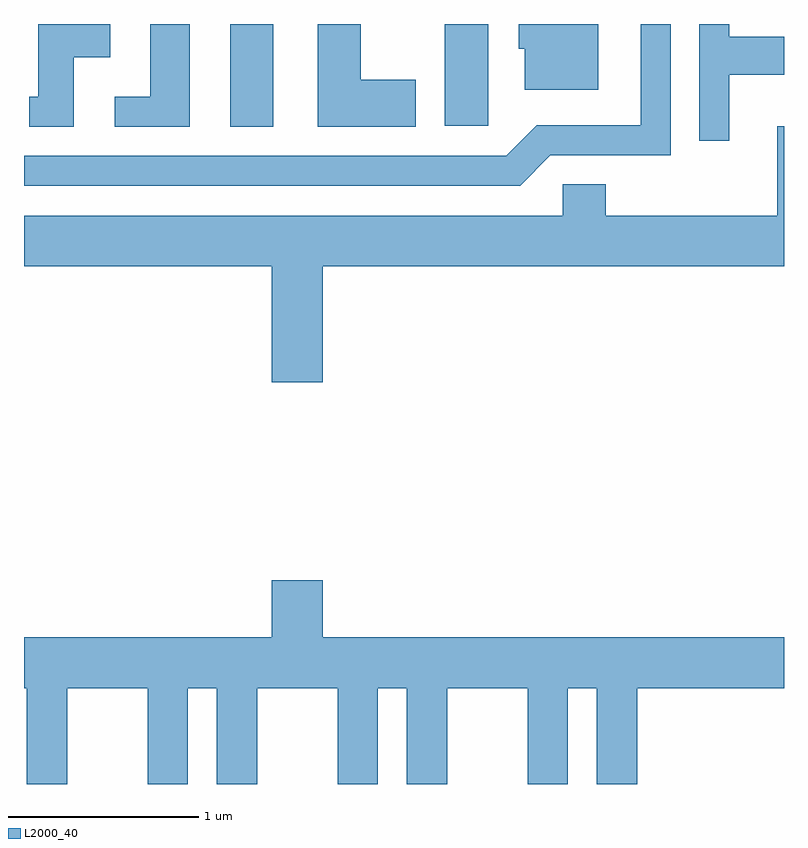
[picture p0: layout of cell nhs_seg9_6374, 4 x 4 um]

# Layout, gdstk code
import gdstk
lib = gdstk.Library(unit=1e-6, precision=1e-09)
def R(c, l, rs):  # rectangles x0, y0, x1, y1
    for r in rs: c.add(gdstk.rectangle(r[:2], r[2:], *l))
def P(c, l, *ps):  # polygons
    for p in ps: c.add(gdstk.Polygon(p, *l))
L2000_40 = (2000, 40)

nhs_seg9_6374 = lib.new_cell('nhs_seg9_6374')
R(nhs_seg9_6374, L2000_40, [(374.696,1985.891,374.924,1986.432), (375.826,1985.896,376.054,1986.432)])
P(nhs_seg9_6374, L2000_40, [(375.674,1986.139),(375.384,1986.139),(375.384,1986.432),(375.156,1986.432),(375.156,1985.891),(375.674,1985.891)],
  [(377.324,1986.166),(377.611,1986.166),(377.611,1986.364),(377.324,1986.364),(377.324,1986.432),(377.166,1986.432),(377.166,1985.818),(377.324,1985.818)],
  [(376.634,1986.432),(376.216,1986.432),(376.216,1986.301),(376.246,1986.301),(376.246,1986.086),(376.634,1986.086)],
  [(374.484,1986.432),(374.276,1986.432),(374.276,1986.049),(374.088,1986.049),(374.088,1985.891),(374.484,1985.891)],
  [(373.874,1986.256),(374.064,1986.256),(374.064,1986.432),(373.686,1986.432),(373.686,1986.049),(373.638,1986.049),(373.638,1985.891),(373.874,1985.891)],
  [(376.382,1985.741),(377.014,1985.741),(377.014,1986.432),(376.856,1986.432),(376.856,1985.899),(376.309,1985.899),(376.149,1985.739),(373.611,1985.739),(373.611,1985.581),(376.222,1985.581)],
  [(375.184,1985.156),(377.611,1985.156),(377.611,1985.894),(377.576,1985.894),(377.576,1985.424),(376.674,1985.424),(376.674,1985.589),(376.446,1985.589),(376.446,1985.424),(373.611,1985.424),(373.611,1985.156),(374.916,1985.156),(374.916,1984.546),(375.184,1984.546)],
  [(373.839,1982.936),(374.261,1982.936),(374.261,1982.432),(374.474,1982.432),(374.474,1982.936),(374.626,1982.936),(374.626,1982.432),(374.839,1982.432),(374.839,1982.936),(375.261,1982.936),(375.261,1982.432),(375.474,1982.432),(375.474,1982.936),(375.626,1982.936),(375.626,1982.432),(375.839,1982.432),(375.839,1982.936),(376.261,1982.936),(376.261,1982.432),(376.474,1982.432),(376.474,1982.936),(376.626,1982.936),(376.626,1982.432),(376.839,1982.432),(376.839,1982.936),(377.611,1982.936),(377.611,1983.204),(375.184,1983.204),(375.184,1983.504),(374.916,1983.504),(374.916,1983.204),(373.611,1983.204),(373.611,1982.936),(373.626,1982.936),(373.626,1982.432),(373.839,1982.432)])

lib.write_gds('nhs_seg9_6374.gds')
